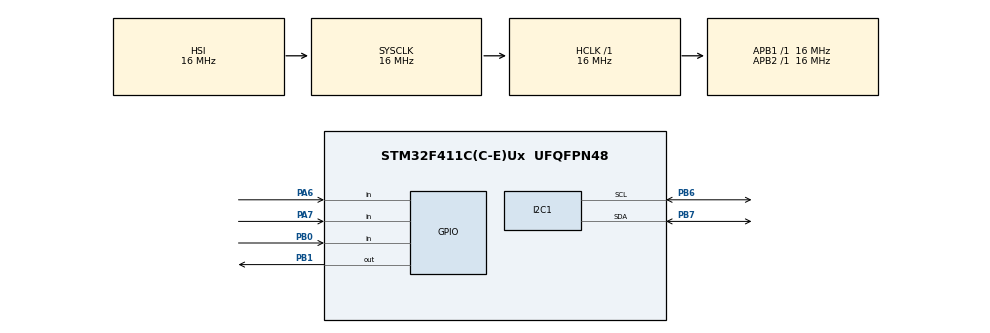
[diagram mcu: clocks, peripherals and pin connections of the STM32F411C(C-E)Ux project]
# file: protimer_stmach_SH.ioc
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I2C1.I2C_Mode=I2C_Fast
Mcu.Family=STM32F4
Mcu.Name=STM32F411C(C-E)Ux
Mcu.Package=UFQFPN48
NVIC.PriorityGroup=NVIC_PRIORITYGROUP_4
PA6.GPIO_PuPd=GPIO_PULLUP
PA6.Signal=GPIO_Input
PA7.GPIO_PuPd=GPIO_PULLUP
PA7.Signal=GPIO_Input
PB0.GPIO_PuPd=GPIO_PULLUP
PB0.Signal=GPIO_Input
PB1.Signal=GPIO_Output
PB6.Mode=I2C
PB6.Signal=I2C1_SCL
PB7.Mode=I2C
PB7.Signal=I2C1_SDA
ProjectManager.HeapSize=0x200
ProjectManager.StackSize=0x400
ProjectManager.TargetToolchain=STM32CubeIDE
RCC.AHBFreq_Value=16000000
RCC.APB1Freq_Value=16000000
RCC.APB2Freq_Value=16000000
RCC.CortexFreq_Value=16000000
RCC.HSE_VALUE=25000000
RCC.HSI_VALUE=16000000
RCC.LSE_VALUE=32768
RCC.SYSCLKFreq_VALUE=16000000
RCC.VCOOutputFreq_Value=192000000
board=custom

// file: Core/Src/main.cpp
/* USER CODE BEGIN Header */
/**
 ******************************************************************************
 * @file           : main.c
 * @brief          : Main program body
 ******************************************************************************
 * @attention
 *
 * Copyright (c) 2025 STMicroelectronics.
 * All rights reserved.
 *
 * This software is licensed under terms that can be found in the LICENSE file
 * in the root directory of this software component.
 * If no LICENSE file comes with this software, it is provided AS-IS.
 *
 ******************************************************************************
 */
/* USER CODE END Header */
#include "main.h"
#include "SSD1306.h"
/* USER CODE BEGIN Includes */
static void protimer_event_dispatcher(protimer_t *const mobj,
		event_t const *const e);
/* USER CODE END Includes */

/* USER CODE BEGIN PD */
typedef struct {
	uint8_t stable;       // 0 or 1 (last debounced level)
	uint8_t counter;      // integrator
} Debounce;

static Debounce dbA6 = { 1, 0 }; // pull-up => idle=1
static Debounce dbA7 = { 1, 0 };
static Debounce dbB0 = { 1, 0 };

static uint8_t debounce_step(Debounce *db, uint8_t raw) {
	// 3-bit integrator: counts toward raw level; flips when fully counted
	const uint8_t MAXC = 5;  // ~5 samples to confirm (~5*1ms if we call @1ms)
	if (raw == db->stable) {
		if (db->counter)
			db->counter--;
	} else {
		if (db->counter < MAXC)
			db->counter++;
		if (db->counter >= MAXC) {
			db->stable = raw;
			db->counter = 0;
		}
	}
	return db->stable;
}

// Packs debounced bits like your original (b1<<2)|(b2<<1)|b3
static uint8_t read_buttons_packed(void) {
	// raw reads
	uint8_t rA6 = HAL_GPIO_ReadPin(GPIOA, GPIO_PIN_6);
	uint8_t rA7 = HAL_GPIO_ReadPin(GPIOA, GPIO_PIN_7);
	uint8_t rB0 = HAL_GPIO_ReadPin(GPIOB, GPIO_PIN_0);

	// debounce once per call
	uint8_t b1 = debounce_step(&dbA6, rA6);
	uint8_t b2 = debounce_step(&dbA7, rA7);
	uint8_t b3 = debounce_step(&dbB0, rB0);

	// pack like before
	return (uint8_t) ((b1 << 2) | (b2 << 1) | b3);
}

// Helper: convert active-LOW packed value into your event code
// Returns 0 when no (new) press detected.
static uint8_t decode_btn_event(uint8_t packed_now) {
	// We trigger only on a *new* press (transition 1->0 on any line).
	// Keep previous pack:
	static uint8_t prev = 0x07; // all idle (1,1,1)
	uint8_t event = 0;

	// Look for any change
	if (packed_now != prev) {
		// Single-button presses (active-LOW => the bit that went 0)
		if (packed_now == 3)
			event = BTN_VAL_INC;  // 0b011
		else if (packed_now == 5)
			event = BTN_VAL_DEC; // 0b101
		else if (packed_now == 1)
			event = BTN_VAL_ABRT; // 0b110
		else if (packed_now == 6)
			event = BTN_VAL_SP;   // 0b001 (combo)
		// else: ignore (multiple noise or release)
		prev = packed_now;
	}
	return event;
}
/* USER CODE END PD */

I2C_HandleTypeDef hi2c1;

void SystemClock_Config(void);
static void MX_GPIO_Init(void);
static void MX_I2C1_Init(void);
/* USER CODE BEGIN PFP */

//Main application object
static protimer_t protimer;
/* USER CODE END PFP */

/* USER CODE BEGIN 0 */
static void protimer_event_dispatcher(protimer_t *const mobj,
		event_t const *const e) {
	event_status_t status;
	protimer_state_t source, target;

	source = mobj->active_state;
	status = (*mobj->active_state)(mobj, e);

	if (status == EVENT_TRANSITION) {
		target = mobj->active_state;

		// 1) tell the *source* state to EXIT
		event_t ee;
		ee.sig = EXIT;
		(*source)(mobj, &ee);

		// 2) now switch to *target* and send ENTRY
		ee.sig = ENTRY;
		(*target)(mobj, &ee);
	}
}

uint8_t process_btn_val(uint8_t btn_st_val) {
	static button_state_t btn_sm_state = NOT_PRESSED;
	static uint32_t curr_time = HAL_GetTick();

	switch (btn_sm_state) {
	case NOT_PRESSED: {
		if (btn_st_val) {
			btn_sm_state = BOUNCE;
			curr_time = HAL_GetTick();
		}
		break;
	}
	case BOUNCE: {
		if (HAL_GetTick() - curr_time >= 50) {
			//50ms has passed
			if (btn_st_val) {
				btn_sm_state = PRESSED;
				return btn_st_val;
			} else
				btn_sm_state = NOT_PRESSED;
		}
		break;
	}
	case PRESSED: {
		if (!btn_st_val) {
			btn_sm_state = BOUNCE;
			curr_time = HAL_GetTick();
		}
		break;
	}

	}
	return 0;
}
/* USER CODE END 0 */

int main(void) {

	/* MCU Configuration--------------------------------------------------------*/

	/* Reset of all peripherals, Initializes the Flash interface and the Systick. */
	HAL_Init();

	/* Configure the system clock */
	SystemClock_Config();

	/* Initialize all configured peripherals */
	MX_GPIO_Init();
	MX_I2C1_Init();
	/* USER CODE BEGIN 2 */
	SSD1306_Init();
	protimer_init(&protimer);
	/* USER CODE END 2 */

	/* Infinite loop */
	/* USER CODE BEGIN WHILE */
	protimer_tick_event_t te = { .super = { .sig = TIME_TICK }, .ss = 0 };
	uint32_t last_tick = HAL_GetTick();
	uint32_t last_scan = HAL_GetTick();
	while (1) {
		// 1) scan buttons at ~1 kHz for snappy debounce
		if (HAL_GetTick() - last_scan >= 1) {
			last_scan = HAL_GetTick();
			uint8_t packed = read_buttons_packed();
			uint8_t code = decode_btn_event(packed);

			if (code) {
				protimer_user_event_t ue;
				if (code == BTN_VAL_INC)
					ue.super.sig = INC_TIME;
				else if (code == BTN_VAL_DEC)
					ue.super.sig = DEC_TIME;
				else if (code == BTN_VAL_ABRT)
					ue.super.sig = ABRT;
				else if (code == BTN_VAL_SP)
					ue.super.sig = START_PAUSE;
				protimer_event_dispatcher(&protimer, &ue.super);
			}
		}

		// 2) dispatch TIME_TICK every 100 ms (independent of buttons)
		if (HAL_GetTick() - last_tick >= 100) {
			last_tick += 100;
			te.super.sig = TIME_TICK;
			te.ss = (te.ss % 10) + 1;   // 1..10
			protimer_event_dispatcher(&protimer, &te.super);
		}
//			/* USER CODE END WHILE */

//			/* USER CODE BEGIN 3 */

		/* USER CODE END 3 */
	}
}
void SystemClock_Config(void) {
	RCC_OscInitTypeDef RCC_OscInitStruct = { 0 };
	RCC_ClkInitTypeDef RCC_ClkInitStruct = { 0 };

	/** Configure the main internal regulator output voltage
	 */
	__HAL_RCC_PWR_CLK_ENABLE();
	__HAL_PWR_VOLTAGESCALING_CONFIG(PWR_REGULATOR_VOLTAGE_SCALE1);

	/** Initializes the RCC Oscillators according to the specified parameters
	 * in the RCC_OscInitTypeDef structure.
	 */
	RCC_OscInitStruct.OscillatorType = RCC_OSCILLATORTYPE_HSI;
	RCC_OscInitStruct.HSIState = RCC_HSI_ON;
	RCC_OscInitStruct.HSICalibrationValue = RCC_HSICALIBRATION_DEFAULT;
	RCC_OscInitStruct.PLL.PLLState = RCC_PLL_NONE;
	if (HAL_RCC_OscConfig(&RCC_OscInitStruct) != HAL_OK) {
		Error_Handler();
	}

	/** Initializes the CPU, AHB and APB buses clocks
	 */
	RCC_ClkInitStruct.ClockType = RCC_CLOCKTYPE_HCLK | RCC_CLOCKTYPE_SYSCLK
			| RCC_CLOCKTYPE_PCLK1 | RCC_CLOCKTYPE_PCLK2;
	RCC_ClkInitStruct.SYSCLKSource = RCC_SYSCLKSOURCE_HSI;
	RCC_ClkInitStruct.AHBCLKDivider = RCC_SYSCLK_DIV1;
	RCC_ClkInitStruct.APB1CLKDivider = RCC_HCLK_DIV1;
	RCC_ClkInitStruct.APB2CLKDivider = RCC_HCLK_DIV1;

	if (HAL_RCC_ClockConfig(&RCC_ClkInitStruct, FLASH_LATENCY_0) != HAL_OK) {
		Error_Handler();
	}
}

static void MX_I2C1_Init(void) {

	hi2c1.Instance = I2C1;
	hi2c1.Init.ClockSpeed = 400000;
	hi2c1.Init.DutyCycle = I2C_DUTYCYCLE_2;
	hi2c1.Init.OwnAddress1 = 0;
	hi2c1.Init.AddressingMode = I2C_ADDRESSINGMODE_7BIT;
	hi2c1.Init.DualAddressMode = I2C_DUALADDRESS_DISABLE;
	hi2c1.Init.OwnAddress2 = 0;
	hi2c1.Init.GeneralCallMode = I2C_GENERALCALL_DISABLE;
	hi2c1.Init.NoStretchMode = I2C_NOSTRETCH_DISABLE;
	if (HAL_I2C_Init(&hi2c1) != HAL_OK) {
		Error_Handler();
	}

}

static void MX_GPIO_Init(void) {
	GPIO_InitTypeDef GPIO_InitStruct = { 0 };

	/* GPIO Ports Clock Enable */
	__HAL_RCC_GPIOA_CLK_ENABLE();
	__HAL_RCC_GPIOB_CLK_ENABLE();

	/*Configure GPIO pin Output Level */
	HAL_GPIO_WritePin(GPIOB, GPIO_PIN_1, GPIO_PIN_RESET);

	/*Configure GPIO pins : PA6 PA7 */
	GPIO_InitStruct.Pin = GPIO_PIN_6 | GPIO_PIN_7;
	GPIO_InitStruct.Mode = GPIO_MODE_INPUT;
	GPIO_InitStruct.Pull = GPIO_PULLUP;
	HAL_GPIO_Init(GPIOA, &GPIO_InitStruct);

	/*Configure GPIO pin : PB0 */
	GPIO_InitStruct.Pin = GPIO_PIN_0;
	GPIO_InitStruct.Mode = GPIO_MODE_INPUT;
	GPIO_InitStruct.Pull = GPIO_PULLUP;
	HAL_GPIO_Init(GPIOB, &GPIO_InitStruct);

	/*Configure GPIO pin : PB1 */
	GPIO_InitStruct.Pin = GPIO_PIN_1;
	GPIO_InitStruct.Mode = GPIO_MODE_OUTPUT_PP;
	GPIO_InitStruct.Pull = GPIO_NOPULL;
	GPIO_InitStruct.Speed = GPIO_SPEED_FREQ_LOW;
	HAL_GPIO_Init(GPIOB, &GPIO_InitStruct);

}

void Error_Handler(void) {
	__disable_irq();
	while (1) {
	}
}
